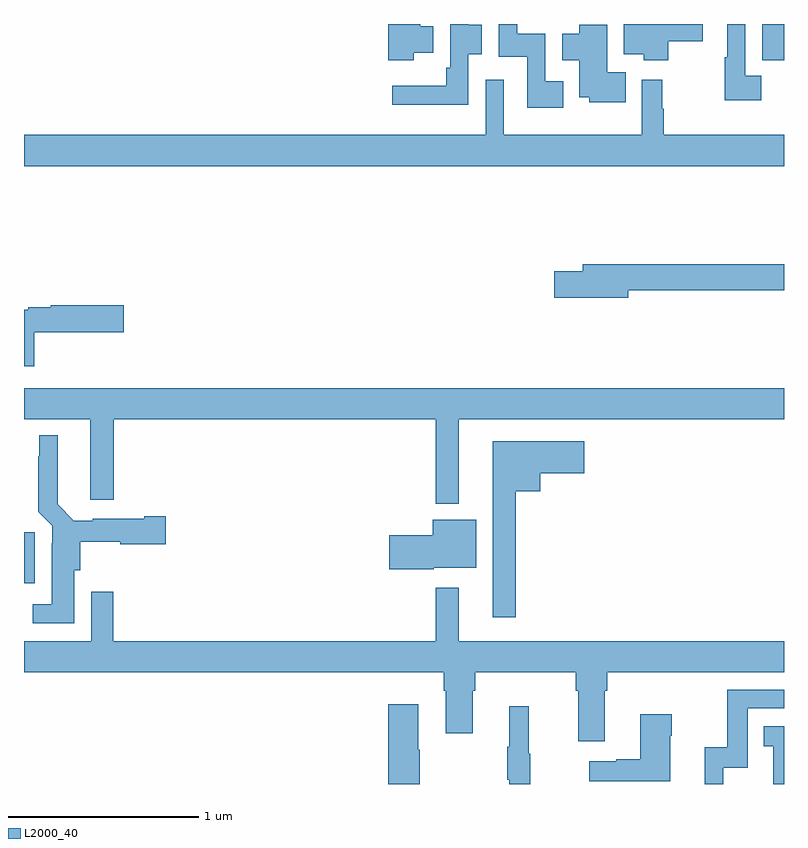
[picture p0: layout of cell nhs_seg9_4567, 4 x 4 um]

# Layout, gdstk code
import gdstk
lib = gdstk.Library(unit=1e-6, precision=1e-09)
def R(c, l, rs):  # rectangles x0, y0, x1, y1
    for r in rs: c.add(gdstk.rectangle(r[:2], r[2:], *l))
def P(c, l, *ps):  # polygons
    for p in ps: c.add(gdstk.Polygon(p, *l))
L2000_40 = (2000, 40)

nhs_seg9_4567 = lib.new_cell('nhs_seg9_4567')
R(nhs_seg9_4567, L2000_40, [(373,1195.557,373.057,1195.825), (376.886,1198.309,377,1198.5)])
P(nhs_seg9_4567, L2000_40, [(375.339,1198.342),(375.409,1198.342),(375.409,1198.497),(375.339,1198.497),(375.339,1198.5),(375.243,1198.5),(375.243,1198.27),(375.223,1198.27),(375.223,1198.174),(374.937,1198.174),(374.937,1198.076),(375.339,1198.076)],
  [(375.838,1198.198),(375.744,1198.198),(375.744,1198.45),(375.597,1198.45),(375.597,1198.5),(375.498,1198.5),(375.498,1198.328),(375.648,1198.328),(375.648,1198.058),(375.838,1198.058)],
  [(376.392,1198.409),(376.573,1198.409),(376.573,1198.5),(376.157,1198.5),(376.157,1198.34),(376.262,1198.34),(376.262,1198.31),(376.392,1198.31)],
  [(375.052,1198.349),(375.154,1198.349),(375.154,1198.489),(375.085,1198.489),(375.085,1198.5),(374.918,1198.5),(374.918,1198.31),(375.052,1198.31)],
  [(376.88,1198.228),(376.797,1198.228),(376.797,1198.5),(376.701,1198.5),(376.701,1198.324),(376.689,1198.324),(376.689,1198.1),(376.88,1198.1)],
  [(376.166,1198.246),(376.069,1198.246),(376.069,1198.495),(375.923,1198.495),(375.923,1198.45),(375.833,1198.45),(375.833,1198.31),(375.923,1198.31),(375.923,1198.115),(375.975,1198.115),(375.975,1198.088),(376.166,1198.088)],
  [(377,1197.916),(376.367,1197.916),(376.367,1198.053),(376.36,1198.053),(376.36,1198.207),(376.251,1198.207),(376.251,1197.916),(375.525,1197.916),(375.525,1198.207),(375.429,1198.207),(375.429,1197.916),(373,1197.916),(373,1197.752),(377,1197.752)],
  [(376.18,1197.1),(377,1197.1),(377,1197.236),(375.941,1197.236),(375.941,1197.2),(375.792,1197.2),(375.792,1197.058),(376.18,1197.058)],
  [(373.054,1196.878),(373.525,1196.878),(373.525,1197.02),(373.14,1197.02),(373.14,1197.008),(373.022,1197.008),(373.022,1196.995),(373,1196.995),(373,1196.699),(373.054,1196.699)],
  [(375.289,1196.42),(377,1196.42),(377,1196.584),(373,1196.584),(373,1196.42),(373.349,1196.42),(373.349,1195.995),(373.472,1195.995),(373.472,1196.42),(375.168,1196.42),(375.168,1195.976),(375.289,1195.976)],
  [(373.264,1195.626),(373.295,1195.626),(373.295,1195.775),(373.506,1195.775),(373.506,1195.763),(373.747,1195.763),(373.747,1195.91),(373.634,1195.91),(373.634,1195.897),(373.362,1195.897),(373.362,1195.885),(373.263,1195.885),(373.177,1195.972),(373.177,1196.335),(373.079,1196.335),(373.079,1196.225),(373.075,1196.225),(373.075,1195.934),(373.149,1195.86),(373.149,1195.766),(373.145,1195.766),(373.145,1195.447),(373.047,1195.447),(373.047,1195.346),(373.264,1195.346)],
  [(375.589,1196.042),(375.718,1196.042),(375.718,1196.135),(375.949,1196.135),(375.949,1196.305),(375.467,1196.305),(375.467,1195.377),(375.589,1195.377)],
  [(375.156,1195.637),(375.379,1195.637),(375.379,1195.891),(375.152,1195.891),(375.152,1195.808),(374.922,1195.808),(374.922,1195.63),(375.156,1195.63)],
  [(376.057,1194.992),(376.07,1194.992),(376.07,1195.088),(377,1195.088),(377,1195.252),(375.289,1195.252),(375.289,1195.534),(375.168,1195.534),(375.168,1195.252),(373.469,1195.252),(373.469,1195.513),(373.353,1195.513),(373.353,1195.252),(373,1195.252),(373,1195.088),(375.209,1195.088),(375.209,1194.992),(375.221,1194.992),(375.221,1194.768),(375.361,1194.768),(375.361,1194.992),(375.374,1194.992),(375.374,1195.088),(375.905,1195.088),(375.905,1194.992),(375.917,1194.992),(375.917,1194.726),(376.057,1194.726)],
  [(376.68,1194.585),(376.809,1194.585),(376.809,1194.9),(377,1194.9),(377,1194.996),(376.701,1194.996),(376.701,1194.694),(376.583,1194.694),(376.583,1194.5),(376.68,1194.5)],
  [(375.084,1194.68),(375.076,1194.68),(375.076,1194.919),(374.918,1194.919),(374.918,1194.5),(375.084,1194.5)],
  [(375.664,1194.66),(375.656,1194.66),(375.656,1194.91),(375.554,1194.91),(375.554,1194.697),(375.543,1194.697),(375.543,1194.523),(375.554,1194.523),(375.554,1194.5),(375.664,1194.5)],
  [(376.402,1194.755),(376.41,1194.755),(376.41,1194.868),(376.244,1194.868),(376.244,1194.629),(376.118,1194.629),(376.118,1194.619),(375.975,1194.619),(375.975,1194.515),(376.402,1194.515)],
  [(377,1194.805),(376.894,1194.805),(376.894,1194.699),(376.943,1194.699),(376.943,1194.5),(377,1194.5)])

lib.write_gds('nhs_seg9_4567.gds')
